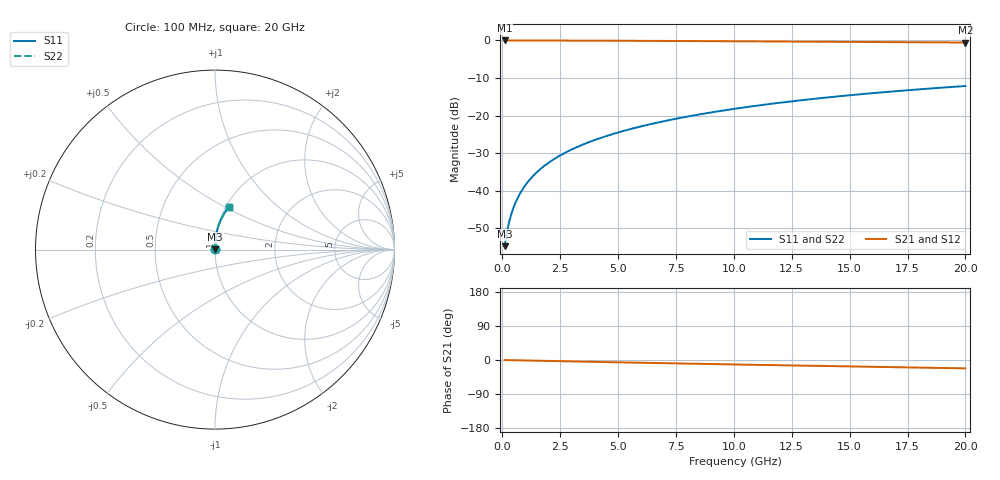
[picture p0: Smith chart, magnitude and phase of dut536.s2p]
! Touchstone file exported from HFSS 2024.1.0
!  File:  C:/UserFiles/LocalFiles/RDL_TSV_Batchsim/temp_RDL_top_536_1779680365.aedt
!  Generated:  11:41:42 AM May 25, 2026
!  Design:  RDL_top
!  Project:  temp_RDL_top_536_1779680365
!  Setup:  Setup1
!  Solution:  Sweep
! Variables:
!  dtsv = 10.80580581um
!  hbump = 3um
!  htsv = 97.45um
!  ldown = 100um
!  lrdl = 271.22um
!  p = 40
!  p1 = 51.37um
!  rhole = 1um
!  t = 450um
!  tdown = 3.915915916um
!  trdl = 4.36um
!  wdown = 15.38538539um
!  wrdl = 18.78um
# GHz S MA R 50.000000
! Terminal data exported
! Port[1] = Box2_T1
! Port[2] = Box2_T2
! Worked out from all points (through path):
!   200 points, 100 MHz to 20 GHz, reference 50 ohm
!   highest |S21| = -0.01 dB at 100 MHz (marker M1); lowest = -0.6 dB at 20 GHz (marker M2)
!   group delay of S21, straight-line fit = 3.04 ps
!   lowest |S11| = -54.8 dB at 100 MHz (marker M3), VSWR 1.00, Z = 50.1 + j0.125 ohm
!   |S11| at or under -10 dB: start of sweep to end of sweep
!   |S22| runs from -54.8 to -12.1 dB; largest |S21 - S12| = 3.2e-15
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0.1  0.001819 43.1  0.9987 -0.1  0.9987 -0.1  0.001819 43.1
! Gamma 0 0 0 0
! Port Impedance 50 0 50 0
0.2  0.002808 60.4  0.9986 -0.3  0.9986 -0.3  0.002808 60.4
0.3  0.003886 68.4  0.9985 -0.4  0.9985 -0.4  0.003886 68.4
0.4  0.004993 72.9  0.9985 -0.5  0.9985 -0.5  0.004993 72.9
0.5  0.006115 75.8  0.9984 -0.6  0.9984 -0.6  0.006115 75.8
0.6  0.007248 77.9  0.9983 -0.8  0.9983 -0.8  0.007248 77.9
0.8  0.009537 80.6  0.9982 -1.0  0.9982 -1.0  0.009537 80.6
1.1  0.013 82.9  0.998 -1.4  0.998 -1.4  0.013 82.9
1.5  0.01766 84.4  0.9976 -1.9  0.9976 -1.9  0.01766 84.4
1.8  0.02116 85.1  0.9972 -2.3  0.9972 -2.3  0.02116 85.1
2.1  0.02468 85.5  0.9968 -2.6  0.9968 -2.6  0.02468 85.5
2.7  0.03175 86.1  0.9957 -3.4  0.9957 -3.4  0.03175 86.1
3.5  0.04125 86.3  0.9941 -4.4  0.9941 -4.4  0.04126 86.3
4.2  0.04967 86.3  0.9924 -5.2  0.9924 -5.2  0.04967 86.3
5  0.05939 86.1  0.9903 -6.1  0.9903 -6.1  0.05939 86.1
5.9  0.07048 85.7  0.9877 -7.2  0.9877 -7.2  0.07048 85.7
6.8  0.08171 85.2  0.9849 -8.2  0.9849 -8.2  0.08171 85.2
8.4  0.102 84.1  0.9797 -10.0  0.9797 -10.0  0.102 84.1
10.1  0.1237 82.6  0.9739 -11.9  0.9739 -11.9  0.1237 82.6
13.4  0.1659 79.3  0.9624 -15.3  0.9624 -15.3  0.1659 79.3
16.7  0.2072 75.8  0.9503 -18.7  0.9503 -18.7  0.2072 75.8
20  0.247 72.2  0.9377 -22.0  0.9377 -22.0  0.247 72.2
